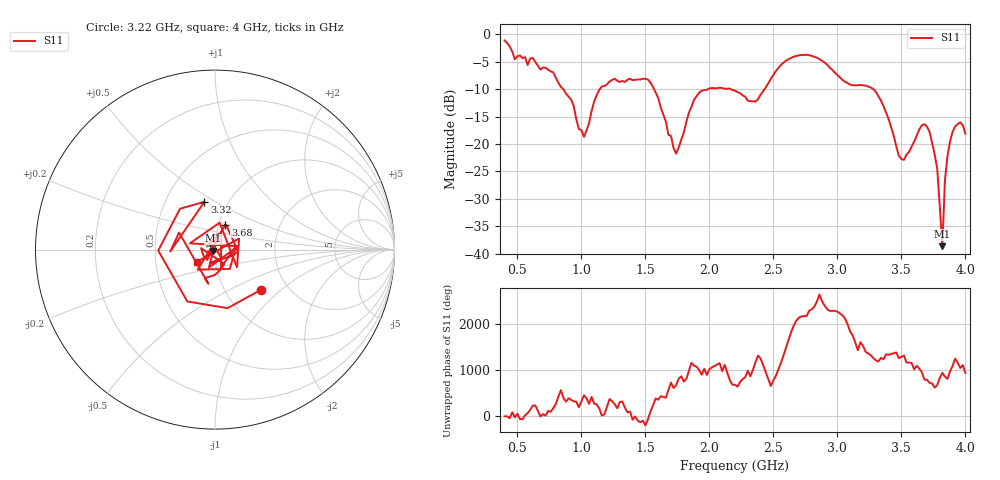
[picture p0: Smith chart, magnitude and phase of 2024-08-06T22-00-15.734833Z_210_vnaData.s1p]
!Created with skrf (http://scikit-rf.org).
# Hz S RI R 50.0
!freq ReS11 ImS11
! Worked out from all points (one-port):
!   181 points, 400 MHz to 4 GHz, reference 50 ohm
!   lowest |S11| = -38.6 dB at 3.82 GHz (marker M1), VSWR 1.02, Z = 49.1 - j0.669 ohm
!   |S11| at or under -10 dB: 858 MHz to 1.144 GHz (285.9 MHz wide, 28.6 % of centre); 1.567 GHz to 1.99 GHz (422.5 MHz wide, 23.8 % of centre); 3.28 GHz to end of sweep (the widest 3 of 4)
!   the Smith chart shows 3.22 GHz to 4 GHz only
!   S11 on the Smith chart (normalised r, x): 3.22 GHz: 1.46, -0.74; 3.32 GHz: 0.78, +0.45; 3.68 GHz: 1.08, +0.31; 4 GHz: 0.81, -0.11
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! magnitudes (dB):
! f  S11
! 400 MHz  -1.1
! 480 MHz  -4.6
! 620 MHz  -4.3
! 860 MHz  -10.0
! 1.02 GHz  -18.7
! 1.14 GHz  -10.1
! 1.3 GHz  -8.7
! 1.52 GHz  -8.3
! 1.72 GHz  -20.7
! 1.76 GHz  -20.7
! 1.92 GHz  -10.7
! 2.2 GHz  -10.3
! 2.36 GHz  -12.3
! 2.66 GHz  -4.1
! 2.84 GHz  -4.3
! 3.1 GHz  -9.2
! 3.22 GHz  -9.4
! 3.32 GHz  -11.3
! 3.48 GHz  -22.2
! 3.56 GHz  -21.4
! 3.68 GHz  -16.4
! 3.72 GHz  -17.8
! 3.78 GHz  -24.5
! 3.82 GHz  -38.6
! 3.84 GHz  -26.7
! 3.88 GHz  -19.6
! 3.96 GHz  -16.1
! 4 GHz  -18.1
